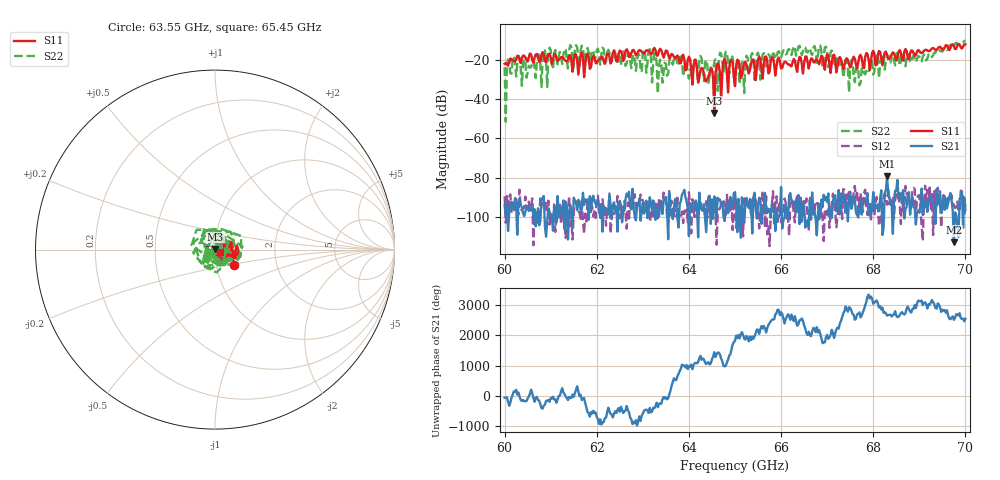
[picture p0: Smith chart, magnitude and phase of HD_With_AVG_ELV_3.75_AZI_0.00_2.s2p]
! 11/25/2026 10:07:15 AM
! C:\ANRITSUVNA\TEMP\TEMP.S2P
! CHANNEL.1
! TR.MEASUREMENT
! RAW.DATA
# HZ S RI R 50.0
! FREQ.HZ  S11RE  S11IM  S21RE  S21IM  S12RE  S12IM  S22RE  S22IM
!; PortSelection: Port_12
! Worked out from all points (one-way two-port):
!   401 points, 60 GHz to 70 GHz, reference 50 ohm
!   highest |S21| = -79.34 dB at 68.3 GHz (marker M1); lowest = -113.1 dB at 69.75 GHz (marker M2)
!   lowest |S11| = -47.0 dB at 64.55 GHz (marker M3), VSWR 1.01, Z = 50.2 + j0.388 ohm
!   |S11| at or under -10 dB: start of sweep to end of sweep
!   |S22| runs from -51.5 to -10.0 dB; largest |S21 - S12| = 0.00013
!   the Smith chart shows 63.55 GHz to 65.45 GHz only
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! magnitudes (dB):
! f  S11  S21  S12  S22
! 60 GHz  -21.9  -94.4  -89.6  -23.7
! 60.25 GHz  -19.7  -94.5  -90.9  -28.4
! 60.52 GHz  -18.5  -97.0  -92.3  -23.0
! 61.67 GHz  -16.2  -96.2  -91.8  -12.7
! 63.1 GHz  -15.0  -100.7  -97.1  -21.5
! 63.35 GHz  -15.3  -99.9  -90.4  -22.9
! 63.65 GHz  -17.3  -101.2  -94.4  -22.4
! 64.03 GHz  -19.4  -93.0  -94.5  -24.8
! 64.28 GHz  -24.1  -96.5  -95.3  -19.1
! 64.47 GHz  -24.4  -103.7  -101.0  -23.7
! 64.55 GHz  -47.0  -89.6  -96.1  -21.0
! 64.62 GHz  -21.7  -90.3  -98.2  -35.7
! 64.8 GHz  -21.4  -93.5  -99.2  -15.7
! 65 GHz  -33.4  -87.5  -93.2  -32.0
! 65.15 GHz  -28.1  -90.1  -99.2  -21.0
! 65.33 GHz  -24.9  -90.9  -93.6  -24.4
! 66.67 GHz  -19.3  -87.6  -91.3  -17.4
! 67.75 GHz  -19.0  -98.9  -92.7  -24.3
! 68.3 GHz  -17.5  -79.3  -93.8  -17.4
! 68.35 GHz  -19.2  -90.0  -93.6  -20.9
! 69.75 GHz  -13.0  -113.1  -94.2  -13.2
! 70 GHz  -11.9  -96.5  -93.4  -10.0
